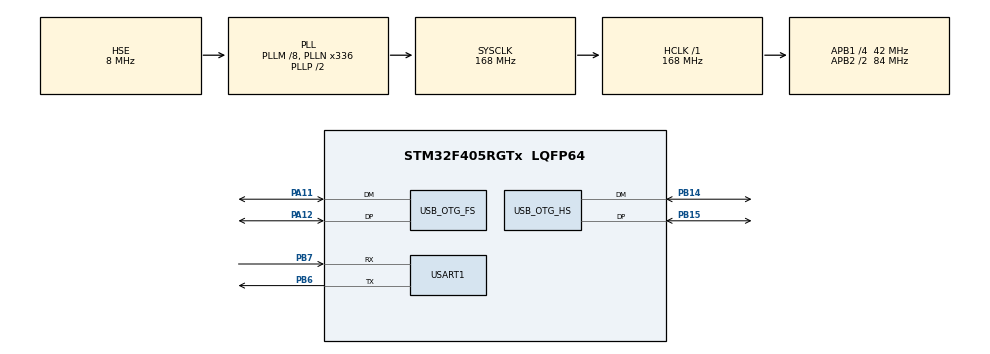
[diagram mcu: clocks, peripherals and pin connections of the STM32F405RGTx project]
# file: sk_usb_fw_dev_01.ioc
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Mcu.Family=STM32F4
Mcu.Name=STM32F405RGTx
Mcu.Package=LQFP64
NVIC.OTG_FS_IRQn=true\:0\:0\:false\:false\:true\:true\:true\:true
NVIC.OTG_HS_EP1_IN_IRQn=true\:0\:0\:false\:false\:true\:true\:true\:true
NVIC.OTG_HS_EP1_OUT_IRQn=true\:0\:0\:false\:false\:true\:true\:true\:true
NVIC.OTG_HS_IRQn=true\:0\:0\:false\:false\:true\:true\:true\:true
NVIC.PriorityGroup=NVIC_PRIORITYGROUP_4
NVIC.USART1_IRQn=true\:0\:0\:false\:false\:true\:true\:true\:true
PA11.Mode=Device_Only
PA11.Signal=USB_OTG_FS_DM
PA12.Mode=Device_Only
PA12.Signal=USB_OTG_FS_DP
PA13.Mode=Serial_Wire
PA13.Signal=SYS_JTMS-SWDIO
PA14.Mode=Serial_Wire
PA14.Signal=SYS_JTCK-SWCLK
PB14.Mode=Device_Only_FS
PB14.Signal=USB_OTG_HS_DM
PB15.Mode=Device_Only_FS
PB15.Signal=USB_OTG_HS_DP
PB6.Mode=Asynchronous
PB6.Signal=USART1_TX
PB7.Mode=Asynchronous
PB7.Signal=USART1_RX
PH0-OSC_IN.Mode=HSE-External-Oscillator
PH0-OSC_IN.Signal=RCC_OSC_IN
PH1-OSC_OUT.Mode=HSE-External-Oscillator
PH1-OSC_OUT.Signal=RCC_OSC_OUT
ProjectManager.HeapSize=0x800
ProjectManager.StackSize=0x2000
ProjectManager.TargetToolchain=MDK-ARM V5.32
RCC.48MHZClocksFreq_Value=48000000
RCC.AHBFreq_Value=168000000
RCC.APB1CLKDivider=RCC_HCLK_DIV4
RCC.APB1Freq_Value=42000000
RCC.APB1TimFreq_Value=84000000
RCC.APB2CLKDivider=RCC_HCLK_DIV2
RCC.APB2Freq_Value=84000000
RCC.APB2TimFreq_Value=168000000
RCC.CortexFreq_Value=168000000
RCC.HCLKFreq_Value=168000000
RCC.HSE_VALUE=8000000
RCC.HSI_VALUE=16000000
RCC.LSE_VALUE=32768
RCC.PLLM=8
RCC.PLLN=336
RCC.PLLQ=7
RCC.SYSCLKFreq_VALUE=168000000
RCC.SYSCLKSource=RCC_SYSCLKSOURCE_PLLCLK
RCC.VCOOutputFreq_Value=336000000
USART1.VirtualMode=VM_ASYNC
USB_DEVICE.CLASS_NAME_FS=HID
USB_DEVICE.CLASS_NAME_HS=CDC
USB_DEVICE.VirtualMode-CDC_HS=Cdc
USB_DEVICE.VirtualMode-HID_FS=Hid
USB_DEVICE.VirtualModeFS=Hid_FS
USB_DEVICE.VirtualModeHS=Cdc_HS
USB_OTG_FS.VirtualMode=Device_Only
USB_OTG_HS.VirtualMode-Device_Only_FS=Device_Only_FS
VP_USB_DEVICE_VS_USB_DEVICE_CDC_HS.Mode=CDC_HS
VP_USB_DEVICE_VS_USB_DEVICE_HID_FS.Mode=HID_FS
board=custom

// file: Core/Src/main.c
/* USER CODE BEGIN Header */
/**
  ******************************************************************************
  * @file           : main.c
  * @brief          : Main program body
  ******************************************************************************
  * @attention
  *
  * Copyright (c) 2026 STMicroelectronics.
  * All rights reserved.
  *
  * This software is licensed under terms that can be found in the LICENSE file
  * in the root directory of this software component.
  * If no LICENSE file comes with this software, it is provided AS-IS.
  *
  ******************************************************************************
  */
/* USER CODE END Header */
#include "main.h"
#include "usart.h"
#include "usb_device.h"
#include "usbd_cdc_if.h"
#include "proto.h"
#include "gpio.h"

/* USER CODE BEGIN Includes */
#include <stdio.h>
/* USER CODE END Includes */

/* USER CODE BEGIN PV */
uint8_t  log_data[512] = {0};
uint32_t log_data_len = 512;
extern USBD_HandleTypeDef hUsbDeviceHS;
/* USER CODE END PV */

void SystemClock_Config(void);

/* USER CODE BEGIN 0 */
uint8_t vpc_send_hs(const uint8_t* data, uint16_t len)
{
    if (hUsbDeviceHS.dev_state != USBD_STATE_CONFIGURED) {
        return USBD_FAIL;
    }

    // 分片发送（如有需要）
    uint16_t offset = 0;
    while (offset < len) {
        uint16_t chunk = len - offset;
        if (chunk > APP_TX_DATA_SIZE) chunk = APP_TX_DATA_SIZE;

        // 非阻塞重试
        for (int tries = 0; tries < 5; tries++) {
            uint8_t ret = CDC_Transmit_HS((uint8_t*)(data + offset), chunk);
            if (ret == USBD_OK) {
                offset += chunk;
                break;
            } else {
                return ret;
            }
        }
        // 若连续 busy 超过重试次数，可择机放弃/延后
        if (offset < len && hUsbDeviceHS.dev_state != USBD_STATE_CONFIGURED) {
            return USBD_FAIL;
        }
    }
    return USBD_OK;
}

void usb_log(const char* log)
{
    proto_conv_log(log, log_data, &log_data_len);
	  vpc_send_hs(log_data, log_data_len);
}
/* USER CODE END 0 */

int main(void)
{

  /* MCU Configuration--------------------------------------------------------*/

  /* Reset of all peripherals, Initializes the Flash interface and the Systick. */
  HAL_Init();

  /* Configure the system clock */
  SystemClock_Config();

  /* Initialize all configured peripherals */
  MX_GPIO_Init();
  MX_USB_DEVICE_Init();
	MX_USART1_UART_Init();

  /* Infinite loop */
  while (1)
  {
		char log_buf[256] = {0};
		printf("this is superkvm dev demo, build time:%s %s\n", __DATE__, __TIME__);
		snprintf(log_buf, sizeof(log_buf), "this is superkvm dev demo, build time:%s %s\n", __DATE__, __TIME__);
		usb_log(log_buf);

		HAL_Delay(5000);  // 添加延时，避免发送过快

  }
}

void SystemClock_Config(void)
{
  RCC_OscInitTypeDef RCC_OscInitStruct = {0};
  RCC_ClkInitTypeDef RCC_ClkInitStruct = {0};

  /** Configure the main internal regulator output voltage
  */
  __HAL_RCC_PWR_CLK_ENABLE();
  __HAL_PWR_VOLTAGESCALING_CONFIG(PWR_REGULATOR_VOLTAGE_SCALE1);

  /** Initializes the RCC Oscillators according to the specified parameters
  * in the RCC_OscInitTypeDef structure.
  */
  RCC_OscInitStruct.OscillatorType = RCC_OSCILLATORTYPE_HSE;
  RCC_OscInitStruct.HSEState = RCC_HSE_ON;
  RCC_OscInitStruct.PLL.PLLState = RCC_PLL_ON;
  RCC_OscInitStruct.PLL.PLLSource = RCC_PLLSOURCE_HSE;
  RCC_OscInitStruct.PLL.PLLM = 8;
  RCC_OscInitStruct.PLL.PLLN = 336;
  RCC_OscInitStruct.PLL.PLLP = RCC_PLLP_DIV2;
  RCC_OscInitStruct.PLL.PLLQ = 7;
  if (HAL_RCC_OscConfig(&RCC_OscInitStruct) != HAL_OK)
  {
    Error_Handler();
  }

  /** Initializes the CPU, AHB and APB buses clocks
  */
  RCC_ClkInitStruct.ClockType = RCC_CLOCKTYPE_HCLK|RCC_CLOCKTYPE_SYSCLK
                              |RCC_CLOCKTYPE_PCLK1|RCC_CLOCKTYPE_PCLK2;
  RCC_ClkInitStruct.SYSCLKSource = RCC_SYSCLKSOURCE_PLLCLK;
  RCC_ClkInitStruct.AHBCLKDivider = RCC_SYSCLK_DIV1;
  RCC_ClkInitStruct.APB1CLKDivider = RCC_HCLK_DIV4;
  RCC_ClkInitStruct.APB2CLKDivider = RCC_HCLK_DIV2;

  if (HAL_RCC_ClockConfig(&RCC_ClkInitStruct, FLASH_LATENCY_5) != HAL_OK)
  {
    Error_Handler();
  }
}

void Error_Handler(void)
{
  __disable_irq();
  while (1)
  {
  }
}
